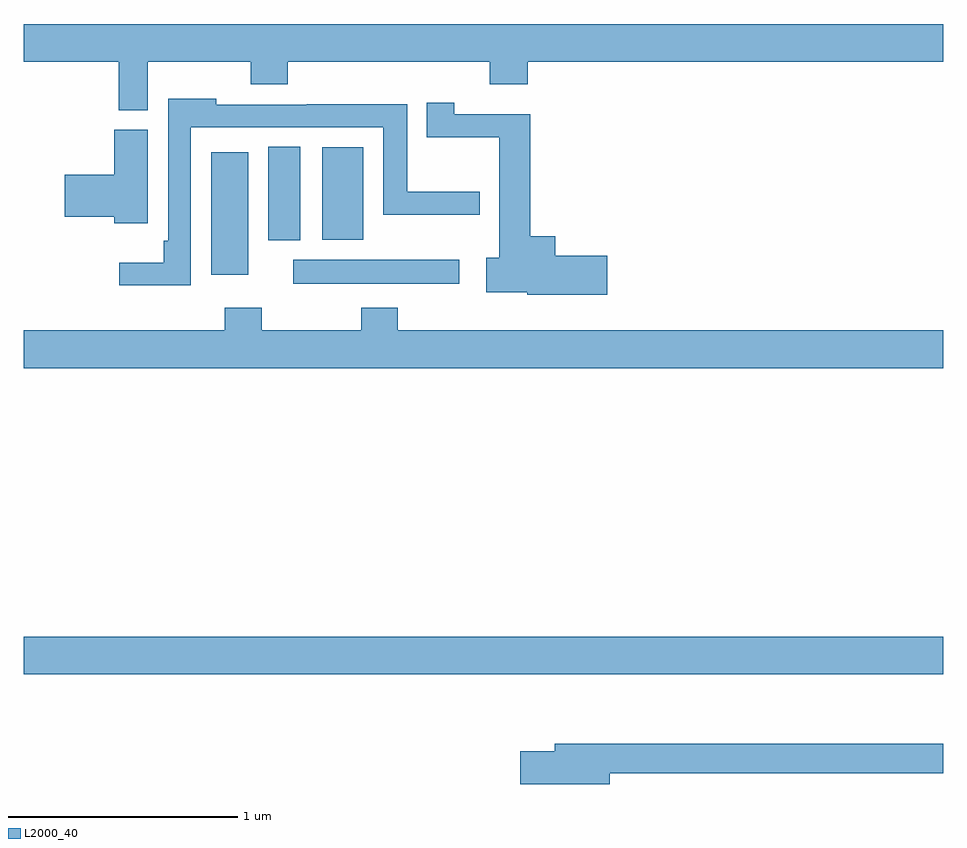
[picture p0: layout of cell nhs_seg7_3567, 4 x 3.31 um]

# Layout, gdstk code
import gdstk
lib = gdstk.Library(unit=1e-6, precision=1e-09)
def R(c, l, rs):  # rectangles x0, y0, x1, y1
    for r in rs: c.add(gdstk.rectangle(r[:2], r[2:], *l))
def P(c, l, *ps):  # polygons
    for p in ps: c.add(gdstk.Polygon(p, *l))
L2000_40 = (2000, 40)

nhs_seg7_3567 = lib.new_cell('nhs_seg7_3567')
R(nhs_seg7_3567, L2000_40, [(339,1020.596,343,1020.76), (340.173,1022.294,340.894,1022.398), (339.815,1022.334,339.976,1022.866), (340.064,1022.483,340.204,1022.891), (340.298,1022.486,340.477,1022.887)])
P(nhs_seg7_3567, L2000_40, [(339.541,1023.26),(339.988,1023.26),(339.988,1023.161),(340.148,1023.161),(340.148,1023.26),(341.027,1023.26),(341.027,1023.161),(341.192,1023.161),(341.192,1023.26),(343,1023.26),(343,1023.424),(339,1023.424),(339,1023.26),(339.413,1023.26),(339.413,1023.049),(339.541,1023.049)],
  [(339.726,1022.976),(340.565,1022.976),(340.565,1022.594),(340.984,1022.594),(340.984,1022.694),(340.669,1022.694),(340.669,1023.074),(340.231,1023.074),(340.231,1023.072),(339.837,1023.072),(339.837,1023.1),(339.63,1023.1),(339.63,1022.482),(339.61,1022.482),(339.61,1022.386),(339.417,1022.386),(339.417,1022.288),(339.726,1022.288)],
  [(341.539,1022.417),(341.311,1022.417),(341.311,1022.5),(341.204,1022.5),(341.204,1023.031),(340.872,1023.031),(340.872,1023.082),(340.754,1023.082),(340.754,1022.932),(341.069,1022.932),(341.069,1022.408),(341.013,1022.408),(341.013,1022.258),(341.19,1022.258),(341.19,1022.246),(341.539,1022.246)],
  [(339.541,1022.964),(339.395,1022.964),(339.395,1022.768),(339.18,1022.768),(339.18,1022.585),(339.395,1022.585),(339.395,1022.558),(339.541,1022.558)],
  [(343,1022.092),(340.628,1022.092),(340.628,1022.191),(340.468,1022.191),(340.468,1022.092),(340.035,1022.092),(340.035,1022.191),(339.875,1022.191),(339.875,1022.092),(339,1022.092),(339,1021.928),(343,1021.928)],
  [(341.548,1020.166),(343,1020.166),(343,1020.295),(341.309,1020.295),(341.309,1020.261),(341.16,1020.261),(341.16,1020.119),(341.548,1020.119)])

lib.write_gds('nhs_seg7_3567.gds')
